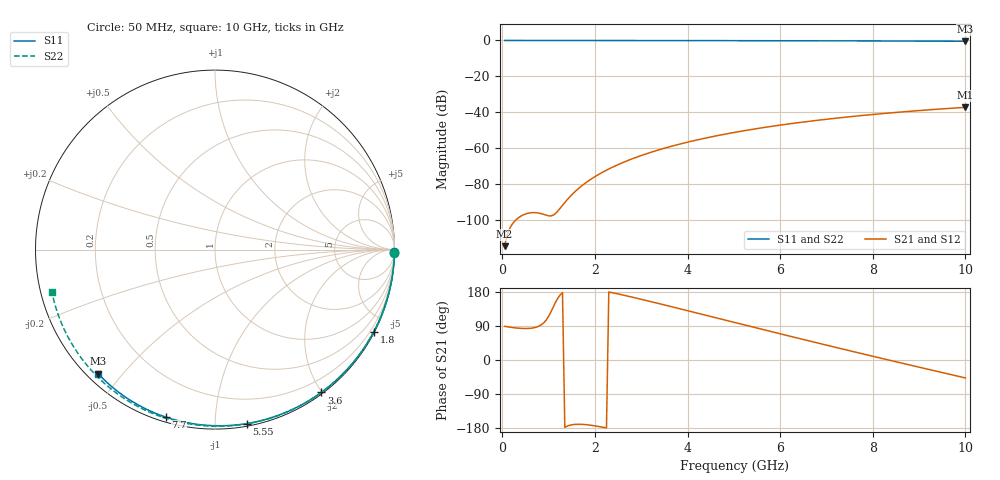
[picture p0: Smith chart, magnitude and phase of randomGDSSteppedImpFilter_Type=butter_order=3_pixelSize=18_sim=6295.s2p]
! freq	dB(S11)	phase(S11)	dB(S12)	phase(S12)
!  dB(S21)	phase(S21)	dB(S22)	phase(S22)
!S-par simulation data
#  GHz  S  DB  R 50
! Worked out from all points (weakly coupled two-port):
!   200 points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, 50 MHz to 10 GHz, reference 50 ohm
!   highest |S21| = -37.31 dB at 10 GHz (marker M1); lowest = -114.8 dB at 50 MHz (marker M2)
!   lowest |S11| = -0.4 dB at 10 GHz (marker M3), VSWR 38.75, Z = 1.53 - j21.6 ohm
!   |S11| at or under -10 dB: nowhere
!   |S22| runs from -0.5 to 0.0 dB; largest |S21 - S12| = 0
!   S11 on the Smith chart (normalised r, x): 50 MHz: open; 1.8 GHz: 0.04, -4.12; 3.6 GHz: 0.02, -1.99; 5.55 GHz: 0.02, -1.20; 7.7 GHz: 0.02, -0.75; 10 GHz: 0.03, -0.43
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0.05  -0.00 -0.8  -114.77 88.9  -114.77 88.9  -0.00 -1.0
0.45  -0.01 -6.9  -97.35 83.2  -97.35 83.2  -0.01 -8.6
0.85  -0.02 -13.0  -96.69 93.6  -96.69 93.6  -0.02 -16.2
1.3  -0.02 -19.8  -91.99 177.9  -91.99 177.9  -0.03 -24.7
1.75  -0.03 -26.6  -80.42 -170.1  -80.42 -170.1  -0.04 -33.1
1.8  -0.03 -27.3  -79.45 -170.6  -79.45 -170.6  -0.04 -34.0
1.95  -0.04 -29.5  -76.80 -172.8  -76.80 -172.8  -0.05 -36.7
2.1  -0.04 -31.7  -74.46 -175.8  -74.46 -175.8  -0.05 -39.5
2.3  -0.04 -34.7  -71.70 179.5  -71.70 179.5  -0.05 -43.1
2.5  -0.05 -37.6  -69.27 174.3  -69.27 174.3  -0.06 -46.7
2.9  -0.06 -43.4  -65.12 163.1  -65.12 163.1  -0.07 -53.9
3.4  -0.07 -50.5  -60.88 148.4  -60.88 148.4  -0.08 -62.6
3.6  -0.07 -53.4  -59.40 142.3  -59.40 142.3  -0.09 -66.1
4.3  -0.09 -63.1  -54.95 121.0  -54.95 121.0  -0.11 -77.9
5.05  -0.11 -73.1  -51.12 98.0  -51.12 98.0  -0.14 -90.1
5.55  -0.13 -79.7  -48.96 82.8  -48.96 82.8  -0.16 -98.1
6.1  -0.15 -86.7  -46.87 66.1  -46.87 66.1  -0.19 -106.6
6.7  -0.18 -94.3  -44.86 48.1  -44.86 48.1  -0.23 -115.8
7.7  -0.24 -106.4  -42.04 18.6  -42.04 18.6  -0.30 -130.8
8.35  -0.29 -114.1  -40.48 -0.3  -40.48 -0.3  -0.36 -140.5
9.2  -0.36 -124.0  -38.72 -24.7  -38.72 -24.7  -0.45 -153.2
10  -0.45 -133.3  -37.31 -47.3  -37.31 -47.3  -0.55 -165.5
